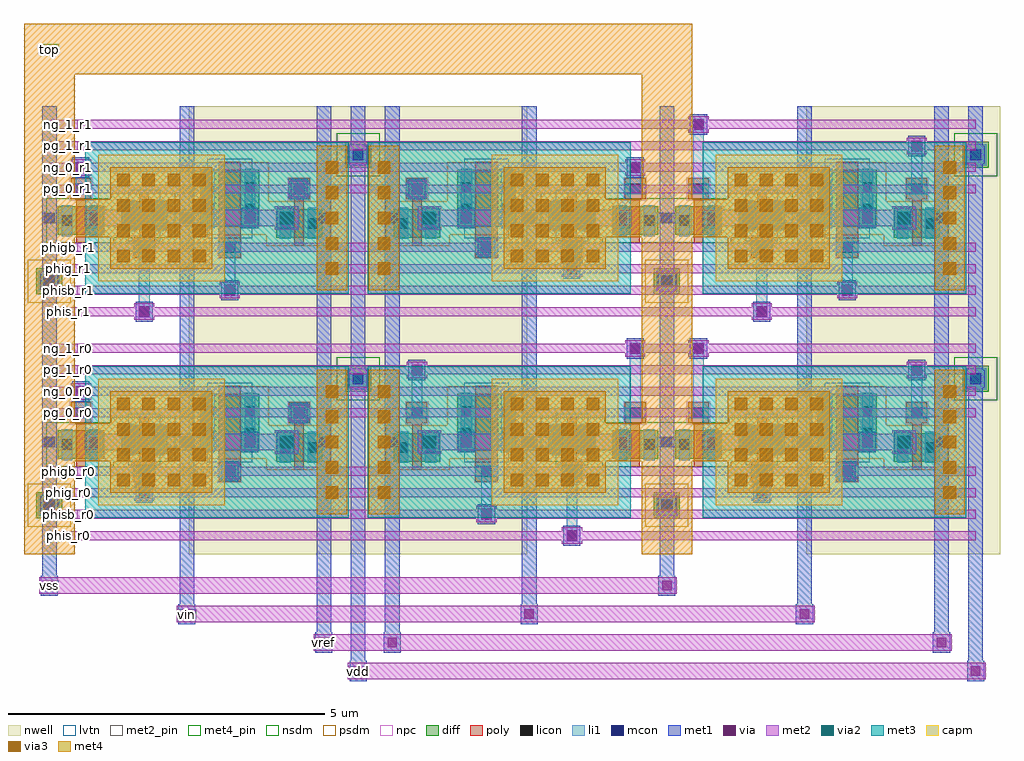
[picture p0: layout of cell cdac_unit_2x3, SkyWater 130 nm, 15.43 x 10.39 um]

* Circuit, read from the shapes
.subckt cdac_unit_2x3 ng_0_r0 ng_0_r1 ng_1_r0 ng_1_r1 pg_0_r0 pg_0_r1 pg_1_r0 pg_1_r1 phig_r0 phig_r1 phigb_r0 phigb_r1 phis_r0 phis_r1 phisb_r0 phisb_r1 top vdd vin vref vss
XM1 n1 ng_0_r0 vss VSUBS sky130_fd_pr__nfet_01v8 w=0.45 l=0.15
XM2 n2 ng_0_r1 vss VSUBS sky130_fd_pr__nfet_01v8 w=0.45 l=0.15
XM3 vin phig_r0 n1 VSUBS sky130_fd_pr__nfet_01v8_lvt w=0.45 l=0.15
XM4 vin phis_r1 n2 VSUBS sky130_fd_pr__nfet_01v8_lvt w=0.45 l=0.15
XM5 n3 phis_r0 vin VSUBS sky130_fd_pr__nfet_01v8_lvt w=0.45 l=0.15
XM6 n4 phig_r1 vin VSUBS sky130_fd_pr__nfet_01v8_lvt w=0.45 l=0.15
XM7 vss ng_1_r0 n3 VSUBS sky130_fd_pr__nfet_01v8 w=0.45 l=0.15
XM8 vss ng_0_r1 n4 VSUBS sky130_fd_pr__nfet_01v8 w=0.45 l=0.15
XM9 n5 ng_1_r0 vss VSUBS sky130_fd_pr__nfet_01v8 w=0.45 l=0.15
XM10 n6 ng_1_r1 vss VSUBS sky130_fd_pr__nfet_01v8 w=0.45 l=0.15
XM11 vin phig_r0 n5 VSUBS sky130_fd_pr__nfet_01v8_lvt w=0.45 l=0.15
XM12 vin phis_r1 n6 VSUBS sky130_fd_pr__nfet_01v8_lvt w=0.45 l=0.15
XM13 n1 phigb_r0 vin n7 sky130_fd_pr__pfet_01v8_lvt w=0.9 l=0.35
XM14 n2 phisb_r1 vin n7 sky130_fd_pr__pfet_01v8_lvt w=0.9 l=0.35
XM15 vref pg_0_r0 n1 n7 sky130_fd_pr__pfet_01v8 w=0.45 l=0.15
XM16 vref pg_0_r1 n2 n7 sky130_fd_pr__pfet_01v8 w=0.45 l=0.15
XM17 n3 pg_1_r0 vref n7 sky130_fd_pr__pfet_01v8 w=0.45 l=0.15
XM18 n4 pg_0_r1 vref n7 sky130_fd_pr__pfet_01v8 w=0.45 l=0.15
XM19 vin phisb_r0 n3 n7 sky130_fd_pr__pfet_01v8_lvt w=0.9 l=0.35
XM20 vin phigb_r1 n4 n7 sky130_fd_pr__pfet_01v8_lvt w=0.9 l=0.35
XM21 n5 phigb_r0 vin n8 sky130_fd_pr__pfet_01v8_lvt w=0.9 l=0.35
XM22 n6 phisb_r1 vin n8 sky130_fd_pr__pfet_01v8_lvt w=0.9 l=0.35
XM23 vref pg_1_r0 n5 n8 sky130_fd_pr__pfet_01v8 w=0.45 l=0.15
XM24 vref pg_1_r1 n6 n8 sky130_fd_pr__pfet_01v8 w=0.45 l=0.15
XC25 top n1 sky130_fd_pr__cap_mim_m3_1 w=2 l=2
XC26 top n2 sky130_fd_pr__cap_mim_m3_1 w=2 l=2
XC27 top n3 sky130_fd_pr__cap_mim_m3_1 w=2 l=2
XC28 top n4 sky130_fd_pr__cap_mim_m3_1 w=2 l=2
XC29 top n5 sky130_fd_pr__cap_mim_m3_1 w=2 l=2
XC30 top n6 sky130_fd_pr__cap_mim_m3_1 w=2 l=2
.ends

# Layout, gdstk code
import gdstk
lib = gdstk.Library(unit=1e-6, precision=5e-09)
def R(c, l, rs):  # rectangles x0, y0, x1, y1
    for r in rs: c.add(gdstk.rectangle(r[:2], r[2:], *l))
def A(c, l, x, y, w, h, nx, ny, dx, dy):  # array of equal rectangles
    R(c, l, [(x+i*dx, y+j*dy, x+i*dx+w, y+j*dy+h) for i in range(nx) for j in range(ny)])
nwell = (64, 20)
diff = (65, 20)
poly = (66, 20)
licon = (66, 44)
li1 = (67, 20)
mcon = (67, 44)
met1 = (68, 20)
via = (68, 44)
met2_pin = (69, 16)
met2 = (69, 20)
via2 = (69, 44)
met3 = (70, 20)
via3 = (70, 44)
met4_pin = (71, 16)
met4 = (71, 20)
capm = (89, 44)
nsdm = (93, 44)
psdm = (94, 20)
npc = (95, 20)
lvtn = (125, 44)

cdac_unit_2x3 = lib.new_cell('cdac_unit_2x3')
R(cdac_unit_2x3, nwell, [(2.205,0,5.265,3.54), (4.495,0,7.555,3.54), (11.965,0,15.025,3.54), (2.205,1.13,3.495,2.84), (6.265,1.13,7.555,2.84), (11.965,1.13,13.255,2.84), (3.405,1.15,4.495,2.41), (5.265,1.15,6.355,2.41), (13.165,1.15,14.255,2.41), (2.205,3.54,5.265,7.08), (4.495,3.54,7.555,7.08), (11.965,3.54,15.025,7.08), (2.205,4.67,3.495,6.38), (6.265,4.67,7.555,6.38), (11.965,4.67,13.255,6.38), (3.405,4.69,4.495,5.95), (5.265,4.69,6.355,5.95), (13.165,4.69,14.255,5.95)])
R(cdac_unit_2x3, diff, [(-0.205,0.565,0.205,0.975), (9.555,0.565,9.965,0.975), (9.555,0.565,9.965,0.975), (3.585,1.46,4.315,1.91), (5.445,1.46,6.175,1.91), (13.345,1.46,14.075,1.91), (0.135,1.505,0.865,1.955), (8.895,1.505,9.625,1.955), (9.895,1.505,10.625,1.955), (1.135,1.585,1.865,2.035), (7.895,1.585,8.625,2.035), (10.895,1.585,11.625,2.035), (2.385,1.63,3.315,2.53), (6.445,1.63,7.375,2.53), (12.145,1.63,13.075,2.53), (4.675,2.565,5.085,2.975), (4.675,2.565,5.085,2.975), (14.435,2.565,14.845,2.975), (-0.205,4.105,0.205,4.515), (9.555,4.105,9.965,4.515), (9.555,4.105,9.965,4.515), (3.585,5,4.315,5.45), (5.445,5,6.175,5.45), (13.345,5,14.075,5.45), (0.135,5.045,0.865,5.495), (8.895,5.045,9.625,5.495), (9.895,5.045,10.625,5.495), (1.135,5.125,1.865,5.575), (7.895,5.125,8.625,5.575), (10.895,5.125,11.625,5.575), (2.385,5.17,3.315,6.07), (6.445,5.17,7.375,6.07), (12.145,5.17,13.075,6.07), (4.675,6.105,5.085,6.515), (4.675,6.105,5.085,6.515), (14.435,6.105,14.845,6.515)])
R(cdac_unit_2x3, poly, [(1.335,1.145,1.665,1.475), (2.675,1.145,3.025,2.66), (6.735,1.145,7.085,2.66), (8.095,1.145,8.425,1.475), (11.095,1.145,11.425,1.475), (12.435,1.145,12.785,2.66), (3.875,1.33,4.025,2.065), (5.735,1.33,5.885,2.065), (13.635,1.33,13.785,2.065), (0.425,1.375,0.575,2.065), (9.185,1.375,9.335,2.065), (10.185,1.375,10.335,2.065), (1.425,1.475,1.575,2.165), (8.185,1.475,8.335,2.165), (11.185,1.475,11.335,2.165), (0.335,2.065,0.665,2.395), (3.785,2.065,4.115,2.395), (5.645,2.065,5.975,2.395), (9.095,2.065,9.425,2.395), (10.095,2.065,10.425,2.395), (13.545,2.065,13.875,2.395), (1.335,4.685,1.665,5.015), (2.675,4.685,3.025,6.2), (6.735,4.685,7.085,6.2), (8.095,4.685,8.425,5.015), (11.095,4.685,11.425,5.015), (12.435,4.685,12.785,6.2), (3.875,4.87,4.025,5.605), (5.735,4.87,5.885,5.605), (13.635,4.87,13.785,5.605), (0.425,4.915,0.575,5.605), (9.185,4.915,9.335,5.605), (10.185,4.915,10.335,5.605), (1.425,5.015,1.575,5.705), (8.185,5.015,8.335,5.705), (11.185,5.015,11.335,5.705), (0.335,5.605,0.665,5.935), (3.785,5.605,4.115,5.935), (5.645,5.605,5.975,5.935), (9.095,5.605,9.425,5.935), (10.095,5.605,10.425,5.935), (13.545,5.605,13.875,5.935)])
R(cdac_unit_2x3, licon, [(-0.085,0.685,0.085,0.855), (9.675,0.685,9.845,0.855), (9.675,0.685,9.845,0.855), (1.415,1.225,1.585,1.395), (2.765,1.225,2.935,1.395), (6.825,1.225,6.995,1.395), (8.175,1.225,8.345,1.395), (11.175,1.225,11.345,1.395), (12.525,1.225,12.695,1.395), (3.645,1.6,3.815,1.77), (4.085,1.6,4.255,1.77), (5.505,1.6,5.675,1.77), (5.945,1.6,6.115,1.77), (13.405,1.6,13.575,1.77), (13.845,1.6,14.015,1.77), (0.195,1.645,0.365,1.815), (0.635,1.645,0.805,1.815), (8.955,1.645,9.125,1.815), (9.395,1.645,9.565,1.815), (9.955,1.645,10.125,1.815), (10.395,1.645,10.565,1.815), (1.195,1.725,1.365,1.895), (1.635,1.725,1.805,1.895), (7.955,1.725,8.125,1.895), (8.395,1.725,8.565,1.895), (10.955,1.725,11.125,1.895), (11.395,1.725,11.565,1.895), (2.445,1.825,2.615,1.995), (3.085,1.825,3.255,1.995), (6.505,1.825,6.675,1.995), (7.145,1.825,7.315,1.995), (12.205,1.825,12.375,1.995), (12.845,1.825,13.015,1.995), (0.415,2.145,0.585,2.315), (3.865,2.145,4.035,2.315), (5.725,2.145,5.895,2.315), (9.175,2.145,9.345,2.315), (10.175,2.145,10.345,2.315), (13.625,2.145,13.795,2.315), (2.445,2.165,2.615,2.335), (3.085,2.165,3.255,2.335), (6.505,2.165,6.675,2.335), (7.145,2.165,7.315,2.335), (12.205,2.165,12.375,2.335), (12.845,2.165,13.015,2.335), (4.795,2.685,4.965,2.855), (4.795,2.685,4.965,2.855), (14.555,2.685,14.725,2.855), (-0.085,4.225,0.085,4.395), (9.675,4.225,9.845,4.395), (9.675,4.225,9.845,4.395), (1.415,4.765,1.585,4.935), (2.765,4.765,2.935,4.935), (6.825,4.765,6.995,4.935), (8.175,4.765,8.345,4.935), (11.175,4.765,11.345,4.935), (12.525,4.765,12.695,4.935), (3.645,5.14,3.815,5.31), (4.085,5.14,4.255,5.31), (5.505,5.14,5.675,5.31), (5.945,5.14,6.115,5.31), (13.405,5.14,13.575,5.31), (13.845,5.14,14.015,5.31), (0.195,5.185,0.365,5.355), (0.635,5.185,0.805,5.355), (8.955,5.185,9.125,5.355), (9.395,5.185,9.565,5.355), (9.955,5.185,10.125,5.355), (10.395,5.185,10.565,5.355), (1.195,5.265,1.365,5.435), (1.635,5.265,1.805,5.435), (7.955,5.265,8.125,5.435), (8.395,5.265,8.565,5.435), (10.955,5.265,11.125,5.435), (11.395,5.265,11.565,5.435), (2.445,5.365,2.615,5.535), (3.085,5.365,3.255,5.535), (6.505,5.365,6.675,5.535), (7.145,5.365,7.315,5.535), (12.205,5.365,12.375,5.535), (12.845,5.365,13.015,5.535), (0.415,5.685,0.585,5.855), (3.865,5.685,4.035,5.855), (5.725,5.685,5.895,5.855), (9.175,5.685,9.345,5.855), (10.175,5.685,10.345,5.855), (13.625,5.685,13.795,5.855), (2.445,5.705,2.615,5.875), (3.085,5.705,3.255,5.875), (6.505,5.705,6.675,5.875), (7.145,5.705,7.315,5.875), (12.205,5.705,12.375,5.875), (12.845,5.705,13.015,5.875), (4.795,6.225,4.965,6.395), (4.795,6.225,4.965,6.395), (14.555,6.225,14.725,6.395)])
R(cdac_unit_2x3, li1, [(8.175,0.205,8.345,1.395), (6.825,0.545,6.995,1.395), (-0.165,0.605,0.165,0.935), (9.595,0.605,9.925,0.935), (9.595,0.605,9.925,0.935), (1.415,0.885,1.585,1.395), (11.175,0.885,11.345,1.395), (1.335,1.225,1.665,1.395), (2.675,1.225,3.025,1.395), (2.765,1.225,2.935,1.395), (6.735,1.225,7.085,1.395), (8.095,1.225,8.425,1.395), (11.095,1.225,11.425,1.395), (12.435,1.225,12.785,1.395), (12.525,1.225,12.695,1.395), (3.645,1.44,3.815,1.93), (4.085,1.44,4.255,1.93), (5.505,1.44,5.675,1.93), (5.945,1.44,6.115,1.93), (13.405,1.44,13.575,1.93), (13.845,1.44,14.015,1.93), (0.195,1.485,0.365,1.975), (0.635,1.485,0.805,1.975), (8.955,1.485,9.125,1.975), (9.395,1.485,9.565,1.975), (9.955,1.485,10.125,1.975), (10.395,1.485,10.565,1.975), (1.195,1.565,1.365,2.055), (1.635,1.565,1.805,2.055), (7.955,1.565,8.125,2.055), (8.395,1.565,8.565,2.055), (10.955,1.565,11.125,2.055), (11.395,1.565,11.565,2.055), (2.445,1.61,2.615,2.55), (3.085,1.61,3.255,2.55), (6.505,1.61,6.675,2.55), (7.145,1.61,7.315,2.55), (12.205,1.61,12.375,2.55), (12.845,1.61,13.015,2.55), (-0.085,1.685,0.275,1.855), (1.72,1.685,2.53,1.855), (4.165,1.685,4.43,1.855), (5.335,1.685,5.595,1.855), (7.23,1.685,8.04,1.855), (9.485,1.685,9.845,1.855), (9.68,1.685,10.04,1.855), (11.48,1.685,12.29,1.855), (13.93,1.685,14.19,1.855), (0.335,2.145,0.665,2.315), (0.415,2.145,0.585,2.655), (3.785,2.145,4.115,2.315), (3.865,2.145,4.035,2.315), (5.645,2.145,5.975,2.315), (5.725,2.145,5.895,2.995), (9.095,2.145,9.425,2.315), (9.175,2.145,9.345,3.335), (10.095,2.145,10.425,2.315), (10.175,2.145,10.345,3.335), (13.545,2.145,13.875,2.315), (13.625,2.145,13.795,2.995), (4.715,2.605,5.045,2.935), (4.715,2.605,5.045,2.935), (14.475,2.605,14.805,2.935), (1.415,3.745,1.585,4.935), (11.175,3.745,11.345,4.935), (2.765,4.085,2.935,4.935), (12.525,4.085,12.695,4.935), (-0.165,4.145,0.165,4.475), (9.595,4.145,9.925,4.475), (9.595,4.145,9.925,4.475), (8.175,4.425,8.345,4.935), (1.335,4.765,1.665,4.935), (2.675,4.765,3.025,4.935), (6.735,4.765,7.085,4.935), (6.825,4.765,6.995,4.935), (8.095,4.765,8.425,4.935), (11.095,4.765,11.425,4.935), (12.435,4.765,12.785,4.935), (3.645,4.98,3.815,5.47), (4.085,4.98,4.255,5.47), (5.505,4.98,5.675,5.47), (5.945,4.98,6.115,5.47), (13.405,4.98,13.575,5.47), (13.845,4.98,14.015,5.47), (0.195,5.025,0.365,5.515), (0.635,5.025,0.805,5.515), (8.955,5.025,9.125,5.515), (9.395,5.025,9.565,5.515), (9.955,5.025,10.125,5.515), (10.395,5.025,10.565,5.515), (1.195,5.105,1.365,5.595), (1.635,5.105,1.805,5.595), (7.955,5.105,8.125,5.595), (8.395,5.105,8.565,5.595), (10.955,5.105,11.125,5.595), (11.395,5.105,11.565,5.595), (2.445,5.15,2.615,6.09), (3.085,5.15,3.255,6.09), (6.505,5.15,6.675,6.09), (7.145,5.15,7.315,6.09), (12.205,5.15,12.375,6.09), (12.845,5.15,13.015,6.09), (-0.085,5.225,0.275,5.395), (1.72,5.225,2.53,5.395), (4.165,5.225,4.43,5.395), (5.335,5.225,5.595,5.395), (7.23,5.225,8.04,5.395), (9.485,5.225,9.845,5.395), (9.68,5.225,10.04,5.395), (11.48,5.225,12.29,5.395), (13.93,5.225,14.19,5.395), (0.335,5.685,0.665,5.855), (0.415,5.685,0.585,6.195), (3.785,5.685,4.115,5.855), (3.865,5.685,4.035,5.855), (5.645,5.685,5.975,5.855), (5.725,5.685,5.895,5.855), (9.095,5.685,9.425,5.855), (9.175,5.685,9.345,6.195), (10.095,5.685,10.425,5.855), (10.175,5.685,10.345,6.875), (13.545,5.685,13.875,5.855), (13.625,5.685,13.795,6.535), (4.715,6.145,5.045,6.475), (4.715,6.145,5.045,6.475), (14.475,6.145,14.805,6.475)])
R(cdac_unit_2x3, mcon, [(8.175,0.205,8.345,0.375), (6.825,0.545,6.995,0.715), (-0.085,0.685,0.085,0.855), (9.675,0.685,9.845,0.855), (9.675,0.685,9.845,0.855), (1.415,0.885,1.585,1.055), (11.175,0.885,11.345,1.055), (2.765,1.225,2.935,1.395), (12.525,1.225,12.695,1.395), (-0.085,1.685,0.085,1.855), (0.635,1.685,0.805,1.855), (1.195,1.685,1.365,1.855), (2.09,1.685,2.26,1.855), (3.085,1.685,3.255,1.855), (3.645,1.685,3.815,1.855), (4.255,1.685,4.425,1.855), (5.335,1.685,5.505,1.855), (5.945,1.685,6.115,1.855), (6.505,1.685,6.675,1.855), (7.5,1.685,7.67,1.855), (8.395,1.685,8.565,1.855), (8.955,1.685,9.125,1.855), (9.675,1.685,9.845,1.855), (9.675,1.685,9.845,1.855), (10.395,1.685,10.565,1.855), (10.955,1.685,11.125,1.855), (11.85,1.685,12.02,1.855), (12.845,1.685,13.015,1.855), (13.405,1.685,13.575,1.855), (14.015,1.685,14.185,1.855), (3.865,2.145,4.035,2.315), (0.415,2.485,0.585,2.655), (4.795,2.685,4.965,2.855), (4.795,2.685,4.965,2.855), (14.555,2.685,14.725,2.855), (5.725,2.825,5.895,2.995), (13.625,2.825,13.795,2.995), (9.175,3.165,9.345,3.335), (10.175,3.165,10.345,3.335), (1.415,3.745,1.585,3.915), (11.175,3.745,11.345,3.915), (2.765,4.085,2.935,4.255), (12.525,4.085,12.695,4.255), (-0.085,4.225,0.085,4.395), (9.675,4.225,9.845,4.395), (9.675,4.225,9.845,4.395), (8.175,4.425,8.345,4.595), (6.825,4.765,6.995,4.935), (-0.085,5.225,0.085,5.395), (0.635,5.225,0.805,5.395), (1.195,5.225,1.365,5.395), (2.09,5.225,2.26,5.395), (3.085,5.225,3.255,5.395), (3.645,5.225,3.815,5.395), (4.255,5.225,4.425,5.395), (5.335,5.225,5.505,5.395), (5.945,5.225,6.115,5.395), (6.505,5.225,6.675,5.395), (7.5,5.225,7.67,5.395), (8.395,5.225,8.565,5.395), (8.955,5.225,9.125,5.395), (9.675,5.225,9.845,5.395), (9.675,5.225,9.845,5.395), (10.395,5.225,10.565,5.395), (10.955,5.225,11.125,5.395), (11.85,5.225,12.02,5.395), (12.845,5.225,13.015,5.395), (13.405,5.225,13.575,5.395), (14.015,5.225,14.185,5.395), (3.865,5.685,4.035,5.855), (5.725,5.685,5.895,5.855), (0.415,6.025,0.585,6.195), (9.175,6.025,9.345,6.195), (4.795,6.225,4.965,6.395), (4.795,6.225,4.965,6.395), (14.555,6.225,14.725,6.395), (13.625,6.365,13.795,6.535), (10.175,6.705,10.345,6.875)])
R(cdac_unit_2x3, met1, [(4.745,-2.01,5.015,-1.69), (4.765,-2.01,4.995,0), (14.505,-2.01,14.775,-1.69), (14.525,-2.01,14.755,0), (4.205,-1.56,4.475,-1.24), (4.225,-1.56,4.455,0), (5.285,-1.56,5.555,-1.24), (5.305,-1.56,5.535,0), (13.965,-1.56,14.235,-1.24), (13.985,-1.56,14.215,0), (2.04,-1.11,2.31,-0.79), (2.06,-1.11,2.29,0), (7.45,-1.11,7.72,-0.79), (7.47,-1.11,7.7,0), (11.8,-1.11,12.07,-0.79), (11.82,-1.11,12.05,0), (-0.135,-0.66,0.135,-0.34), (-0.115,-0.66,0.115,0), (9.625,-0.66,9.895,-0.34), (9.645,-0.66,9.875,0), (-0.115,0,0.115,3.54), (2.06,0,2.29,3.54), (4.225,0,4.455,3.54), (4.765,0,4.995,3.54), (4.765,0,4.995,3.54), (5.305,0,5.535,3.54), (7.47,0,7.7,3.54), (9.645,0,9.875,3.54), (9.645,0,9.875,3.54), (11.82,0,12.05,3.54), (13.985,0,14.215,3.54), (14.525,0,14.755,3.54), (8.125,0.13,8.395,0.45), (6.775,0.47,7.045,0.79), (-0.145,0.625,0.145,0.915), (9.615,0.625,9.905,0.915), (9.615,0.625,9.905,0.915), (1.365,0.81,1.635,1.13), (11.125,0.81,11.395,1.13), (2.715,1.15,2.985,1.47), (12.475,1.15,12.745,1.47), (0.585,1.61,0.855,1.93), (1.145,1.61,1.415,1.93), (3.035,1.61,3.305,1.93), (3.595,1.61,3.865,1.93), (5.895,1.61,6.165,1.93), (6.455,1.61,6.725,1.93), (8.345,1.61,8.615,1.93), (8.905,1.61,9.175,1.93), (10.345,1.61,10.615,1.93), (10.905,1.61,11.175,1.93), (12.795,1.61,13.065,1.93), (13.355,1.61,13.625,1.93), (-0.115,1.63,0.115,1.91), (2.06,1.63,2.29,1.91), (4.225,1.63,4.455,1.91), (5.305,1.63,5.535,1.91), (7.47,1.63,7.7,1.91), (9.645,1.63,9.875,1.91), (9.645,1.63,9.875,1.91), (11.82,1.63,12.05,1.91), (13.985,1.63,14.215,1.91), (3.815,2.07,4.085,2.39), (0.365,2.41,0.635,2.73), (4.735,2.625,5.025,2.915), (4.735,2.625,5.025,2.915), (14.495,2.625,14.785,2.915), (5.675,2.75,5.945,3.07), (13.575,2.75,13.845,3.07), (9.125,3.09,9.395,3.41), (10.125,3.09,10.395,3.41), (-0.115,3.54,0.115,7.08), (2.06,3.54,2.29,7.08), (4.225,3.54,4.455,7.08), (4.765,3.54,4.995,7.08), (4.765,3.54,4.995,7.08), (5.305,3.54,5.535,7.08), (7.47,3.54,7.7,7.08), (9.645,3.54,9.875,7.08), (9.645,3.54,9.875,7.08), (11.82,3.54,12.05,7.08), (13.985,3.54,14.215,7.08), (14.525,3.54,14.755,7.08), (1.365,3.67,1.635,3.99), (11.125,3.67,11.395,3.99), (2.715,4.01,2.985,4.33), (12.475,4.01,12.745,4.33), (-0.145,4.165,0.145,4.455), (9.615,4.165,9.905,4.455), (9.615,4.165,9.905,4.455), (8.125,4.35,8.395,4.67), (6.775,4.69,7.045,5.01), (0.585,5.15,0.855,5.47), (1.145,5.15,1.415,5.47), (3.035,5.15,3.305,5.47), (3.595,5.15,3.865,5.47), (5.895,5.15,6.165,5.47), (6.455,5.15,6.725,5.47), (8.345,5.15,8.615,5.47), (8.905,5.15,9.175,5.47), (10.345,5.15,10.615,5.47), (10.905,5.15,11.175,5.47), (12.795,5.15,13.065,5.47), (13.355,5.15,13.625,5.47), (-0.115,5.17,0.115,5.45), (2.06,5.17,2.29,5.45), (4.225,5.17,4.455,5.45), (5.305,5.17,5.535,5.45), (7.47,5.17,7.7,5.45), (9.645,5.17,9.875,5.45), (9.645,5.17,9.875,5.45), (11.82,5.17,12.05,5.45), (13.985,5.17,14.215,5.45), (3.815,5.61,4.085,5.93), (5.675,5.61,5.945,5.93), (0.365,5.95,0.635,6.27), (9.125,5.95,9.395,6.27), (4.735,6.165,5.025,6.455), (4.735,6.165,5.025,6.455), (14.495,6.165,14.785,6.455), (13.575,6.29,13.845,6.61), (10.125,6.63,10.395,6.95)])
R(cdac_unit_2x3, via, [(4.805,-1.925,4.955,-1.775), (14.565,-1.925,14.715,-1.775), (4.265,-1.475,4.415,-1.325), (5.345,-1.475,5.495,-1.325), (14.025,-1.475,14.175,-1.325), (2.1,-1.025,2.25,-0.875), (7.51,-1.025,7.66,-0.875), (11.86,-1.025,12.01,-0.875), (-0.075,-0.575,0.075,-0.425), (9.685,-0.575,9.835,-0.425), (8.185,0.215,8.335,0.365), (6.835,0.555,6.985,0.705), (1.425,0.895,1.575,1.045), (11.185,0.895,11.335,1.045), (2.775,1.235,2.925,1.385), (12.535,1.235,12.685,1.385), (0.645,1.695,0.795,1.845), (1.205,1.695,1.355,1.845), (3.095,1.695,3.245,1.845), (3.655,1.695,3.805,1.845), (5.955,1.695,6.105,1.845), (6.515,1.695,6.665,1.845), (8.405,1.695,8.555,1.845), (8.965,1.695,9.115,1.845), (10.405,1.695,10.555,1.845), (10.965,1.695,11.115,1.845), (12.855,1.695,13.005,1.845), (13.415,1.695,13.565,1.845), (3.875,2.155,4.025,2.305), (0.425,2.495,0.575,2.645), (5.735,2.835,5.885,2.985), (13.635,2.835,13.785,2.985), (9.185,3.175,9.335,3.325), (10.185,3.175,10.335,3.325), (1.425,3.755,1.575,3.905), (11.185,3.755,11.335,3.905), (2.775,4.095,2.925,4.245), (12.535,4.095,12.685,4.245), (8.185,4.435,8.335,4.585), (6.835,4.775,6.985,4.925), (0.645,5.235,0.795,5.385), (1.205,5.235,1.355,5.385), (3.095,5.235,3.245,5.385), (3.655,5.235,3.805,5.385), (5.955,5.235,6.105,5.385), (6.515,5.235,6.665,5.385), (8.405,5.235,8.555,5.385), (8.965,5.235,9.115,5.385), (10.405,5.235,10.555,5.385), (10.965,5.235,11.115,5.385), (12.855,5.235,13.005,5.385), (13.415,5.235,13.565,5.385), (3.875,5.695,4.025,5.845), (5.735,5.695,5.885,5.845), (0.425,6.035,0.575,6.185), (9.185,6.035,9.335,6.185), (13.635,6.375,13.785,6.525), (10.185,6.715,10.335,6.865)])
A(cdac_unit_2x3, met2_pin, 0.15, 0.22, 0.3, 0.14, 1, 4, 0, 0.34)
A(cdac_unit_2x3, met2_pin, 0.15, 2.16, 0.3, 0.14, 1, 4, 0, 0.34)
A(cdac_unit_2x3, met2_pin, 0.15, 3.76, 0.3, 0.14, 1, 4, 0, 0.34)
A(cdac_unit_2x3, met2_pin, 0.15, 5.7, 0.3, 0.14, 1, 4, 0, 0.34)
R(cdac_unit_2x3, met2_pin, [(4.73,-1.93,5.03,-1.77), (4.19,-1.48,4.49,-1.32), (2.025,-1.03,2.325,-0.87), (-0.15,-0.58,0.15,-0.42)])
A(cdac_unit_2x3, met2, 0, 0.22, 4.88, 0.14, 3, 4, 4.88, 0.34)
A(cdac_unit_2x3, met2, 0, 2.16, 4.88, 0.14, 3, 4, 4.88, 0.34)
A(cdac_unit_2x3, met2, 0, 3.76, 4.88, 0.14, 3, 4, 4.88, 0.34)
A(cdac_unit_2x3, met2, 0, 5.7, 4.88, 0.14, 3, 4, 4.88, 0.34)
R(cdac_unit_2x3, met2, [(4.72,-1.98,14.8,-1.72), (4.18,-1.53,14.26,-1.27), (2.015,-1.08,12.095,-0.82), (-0.16,-0.63,9.92,-0.37), (8.1,0.16,8.42,0.42), (6.75,0.5,7.07,0.76), (1.34,0.84,1.66,1.1), (11.1,0.84,11.42,1.1), (2.69,1.18,3.01,1.44), (12.45,1.18,12.77,1.44), (3.565,1.585,3.935,1.955), (5.825,1.585,6.195,1.955), (13.325,1.585,13.695,1.955), (0.56,1.64,3.94,1.9), (0.56,1.64,0.88,1.9), (1.12,1.64,1.44,1.9), (3.01,1.64,3.33,1.9), (3.57,1.64,3.89,1.9), (5.825,1.64,9.205,1.9), (5.87,1.64,6.19,1.9), (6.43,1.64,6.75,1.9), (8.32,1.64,8.64,1.9), (8.88,1.64,9.2,1.9), (10.32,1.64,13.7,1.9), (10.32,1.64,10.64,1.9), (10.88,1.64,11.2,1.9), (12.77,1.64,13.09,1.9), (13.33,1.64,13.65,1.9), (3.79,2.1,4.11,2.36), (0.34,2.44,0.66,2.7), (5.65,2.78,5.97,3.04), (13.55,2.78,13.87,3.04), (9.1,3.12,9.42,3.38), (10.1,3.12,10.42,3.38), (1.34,3.7,1.66,3.96), (11.1,3.7,11.42,3.96), (2.69,4.04,3.01,4.3), (12.45,4.04,12.77,4.3), (8.1,4.38,8.42,4.64), (6.75,4.72,7.07,4.98), (3.565,5.125,3.935,5.495), (5.825,5.125,6.195,5.495), (13.325,5.125,13.695,5.495), (0.56,5.18,3.94,5.44), (0.56,5.18,0.88,5.44), (1.12,5.18,1.44,5.44), (3.01,5.18,3.33,5.44), (3.57,5.18,3.89,5.44), (5.825,5.18,9.205,5.44), (5.87,5.18,6.19,5.44), (6.43,5.18,6.75,5.44), (8.32,5.18,8.64,5.44), (8.88,5.18,9.2,5.44), (10.32,5.18,13.7,5.44), (10.32,5.18,10.64,5.44), (10.88,5.18,11.2,5.44), (12.77,5.18,13.09,5.44), (13.33,5.18,13.65,5.44), (3.79,5.64,4.11,5.9), (5.65,5.64,5.97,5.9), (0.34,5.98,0.66,6.24), (9.1,5.98,9.42,6.24), (13.55,6.32,13.87,6.58), (10.1,6.66,10.42,6.92)])
R(cdac_unit_2x3, via2, [(3.65,1.67,3.85,1.87), (5.91,1.67,6.11,1.87), (13.41,1.67,13.61,1.87), (3.65,5.21,3.85,5.41), (5.91,5.21,6.11,5.41), (13.41,5.21,13.61,5.41)])
R(cdac_unit_2x3, met3, [(0.57,0.57,4.73,2.97), (5.03,0.57,9.19,2.97), (10.33,0.57,14.49,2.97), (3.585,1.605,3.915,1.935), (5.845,1.605,6.175,1.935), (13.345,1.605,13.675,1.935), (0.57,4.11,4.73,6.51), (5.03,4.11,9.19,6.51), (10.33,4.11,14.49,6.51), (3.585,5.145,3.915,5.475), (5.845,5.145,6.175,5.475), (13.345,5.145,13.675,5.475)])
A(cdac_unit_2x3, via3, 4.37, 0.87, 0.2, 0.2, 1, 5, 0, 0.4)
A(cdac_unit_2x3, via3, 5.19, 0.87, 0.2, 0.2, 1, 5, 0, 0.4)
A(cdac_unit_2x3, via3, 14.13, 0.87, 0.2, 0.2, 1, 5, 0, 0.4)
A(cdac_unit_2x3, via3, 1.07, 1.07, 0.2, 0.2, 4, 4, 0.4, 0.4)
A(cdac_unit_2x3, via3, 7.29, 1.07, 0.2, 0.2, 4, 4, 0.4, 0.4)
A(cdac_unit_2x3, via3, 10.83, 1.07, 0.2, 0.2, 4, 4, 0.4, 0.4)
A(cdac_unit_2x3, via3, 4.37, 4.41, 0.2, 0.2, 1, 5, 0, 0.4)
A(cdac_unit_2x3, via3, 5.19, 4.41, 0.2, 0.2, 1, 5, 0, 0.4)
A(cdac_unit_2x3, via3, 14.13, 4.41, 0.2, 0.2, 1, 5, 0, 0.4)
A(cdac_unit_2x3, via3, 1.07, 4.61, 0.2, 0.2, 4, 4, 0.4, 0.4)
A(cdac_unit_2x3, via3, 7.29, 4.61, 0.2, 0.2, 4, 4, 0.4, 0.4)
A(cdac_unit_2x3, via3, 10.83, 4.61, 0.2, 0.2, 4, 4, 0.4, 0.4)
R(cdac_unit_2x3, met4_pin, [(-0.15,7.9,0.15,8.06)])
R(cdac_unit_2x3, met4, [(-0.4,0,0.4,3.54), (9.36,0,10.16,3.54), (9.36,0,10.16,3.54), (4.23,0.63,4.71,2.91), (5.05,0.63,5.53,2.91), (13.99,0.63,14.47,2.91), (0.965,0.965,2.575,2.575), (7.185,0.965,8.795,2.575), (10.725,0.965,12.335,2.575), (0.005,1.47,1.165,2.07), (8.6,1.47,9.76,2.07), (9.76,1.47,10.925,2.07), (-0.4,3.54,0.4,7.08), (9.36,3.54,10.16,7.08), (9.36,3.54,10.16,7.08), (4.23,4.17,4.71,6.45), (5.05,4.17,5.53,6.45), (13.99,4.17,14.47,6.45), (0.965,4.505,2.575,6.115), (7.185,4.505,8.795,6.115), (10.725,4.505,12.335,6.115), (0.005,5.01,1.165,5.61), (8.6,5.01,9.76,5.61), (9.76,5.01,10.925,5.61), (-0.4,7.08,0.4,8.38), (9.36,7.08,10.16,8.38), (-0.4,7.58,10.16,8.38)])
R(cdac_unit_2x3, capm, [(0.77,0.77,2.77,2.77), (6.99,0.77,8.99,2.77), (10.53,0.77,12.53,2.77), (0.77,4.31,2.77,6.31), (6.99,4.31,8.99,6.31), (10.53,4.31,12.53,6.31)])
R(cdac_unit_2x3, nsdm, [(-0.05,1.38,0.02,2.08), (0.01,1.38,0.99,2.08), (0.98,1.38,1.02,2.16), (8.74,1.38,8.78,2.16), (8.77,1.38,9.75,2.08), (9.71,1.38,9.78,2.08), (9.74,1.38,9.81,2.08), (9.77,1.38,10.75,2.08), (10.74,1.38,10.78,2.16), (1.01,1.46,1.99,2.16), (7.77,1.46,8.75,2.16), (10.77,1.46,11.75,2.16), (4.54,2.43,5.22,3.11), (4.54,2.43,5.22,3.11), (14.3,2.43,14.98,3.11), (-0.05,4.92,0.02,5.62), (0.01,4.92,0.99,5.62), (0.98,4.92,1.02,5.7), (8.74,4.92,8.78,5.7), (8.77,4.92,9.75,5.62), (9.71,4.92,9.78,5.62), (9.74,4.92,9.81,5.62), (9.77,4.92,10.75,5.62), (10.74,4.92,10.78,5.7), (1.01,5,1.99,5.7), (7.77,5,8.75,5.7), (10.77,5,11.75,5.7), (4.54,5.97,5.22,6.65), (4.54,5.97,5.22,6.65), (14.3,5.97,14.98,6.65)])
R(cdac_unit_2x3, psdm, [(-0.34,0.43,0.34,1.11), (9.42,0.43,10.1,1.11), (9.42,0.43,10.1,1.11), (3.43,1.335,3.47,2.655), (3.46,1.335,4.44,2.035), (5.32,1.335,6.3,2.035), (6.29,1.335,6.33,2.655), (13.19,1.335,13.23,2.655), (13.22,1.335,14.2,2.035), (2.26,1.505,3.44,2.655), (6.32,1.505,7.5,2.655), (12.02,1.505,13.2,2.655), (-0.34,3.97,0.34,4.65), (9.42,3.97,10.1,4.65), (9.42,3.97,10.1,4.65), (3.43,4.875,3.47,6.195), (3.46,4.875,4.44,5.575), (5.32,4.875,6.3,5.575), (6.29,4.875,6.33,6.195), (13.19,4.875,13.23,6.195), (13.22,4.875,14.2,5.575), (2.26,5.045,3.44,6.195), (6.32,5.045,7.5,6.195), (12.02,5.045,13.2,6.195)])
R(cdac_unit_2x3, npc, [(1.315,1.125,1.685,1.495), (2.665,1.125,3.035,1.495), (6.725,1.125,7.095,1.495), (8.075,1.125,8.445,1.495), (11.075,1.125,11.445,1.495), (12.425,1.125,12.795,1.495), (0.315,2.045,0.685,2.415), (3.765,2.045,4.135,2.415), (5.625,2.045,5.995,2.415), (9.075,2.045,9.445,2.415), (10.075,2.045,10.445,2.415), (13.525,2.045,13.895,2.415), (1.315,4.665,1.685,5.035), (2.665,4.665,3.035,5.035), (6.725,4.665,7.095,5.035), (8.075,4.665,8.445,5.035), (11.075,4.665,11.445,5.035), (12.425,4.665,12.795,5.035), (0.315,5.585,0.685,5.955), (3.765,5.585,4.135,5.955), (5.625,5.585,5.995,5.955), (9.075,5.585,9.445,5.955), (10.075,5.585,10.445,5.955), (13.525,5.585,13.895,5.955)])
R(cdac_unit_2x3, lvtn, [(1.245,1.405,1.755,2.215), (8.005,1.405,8.515,2.215), (11.005,1.405,11.515,2.215), (2.495,1.45,3.205,2.71), (6.555,1.45,7.265,2.71), (12.255,1.45,12.965,2.71), (1.245,4.945,1.755,5.755), (8.005,4.945,8.515,5.755), (11.005,4.945,11.515,5.755), (2.495,4.99,3.205,6.25), (6.555,4.99,7.265,6.25), (12.255,4.99,12.965,6.25)])
cdac_unit_2x3.add(gdstk.Label('phis_r0', (0.3,0.29), layer=69, texttype=5))
cdac_unit_2x3.add(gdstk.Label('phisb_r0', (0.3,0.63), layer=69, texttype=5))
cdac_unit_2x3.add(gdstk.Label('phig_r0', (0.3,0.97), layer=69, texttype=5))
cdac_unit_2x3.add(gdstk.Label('phigb_r0', (0.3,1.31), layer=69, texttype=5))
cdac_unit_2x3.add(gdstk.Label('pg_0_r0', (0.3,2.23), layer=69, texttype=5))
cdac_unit_2x3.add(gdstk.Label('ng_0_r0', (0.3,2.57), layer=69, texttype=5))
cdac_unit_2x3.add(gdstk.Label('pg_1_r0', (0.3,2.91), layer=69, texttype=5))
cdac_unit_2x3.add(gdstk.Label('ng_1_r0', (0.3,3.25), layer=69, texttype=5))
cdac_unit_2x3.add(gdstk.Label('phis_r1', (0.3,3.83), layer=69, texttype=5))
cdac_unit_2x3.add(gdstk.Label('phisb_r1', (0.3,4.17), layer=69, texttype=5))
cdac_unit_2x3.add(gdstk.Label('phig_r1', (0.3,4.51), layer=69, texttype=5))
cdac_unit_2x3.add(gdstk.Label('phigb_r1', (0.3,4.85), layer=69, texttype=5))
cdac_unit_2x3.add(gdstk.Label('pg_0_r1', (0.3,5.77), layer=69, texttype=5))
cdac_unit_2x3.add(gdstk.Label('ng_0_r1', (0.3,6.11), layer=69, texttype=5))
cdac_unit_2x3.add(gdstk.Label('pg_1_r1', (0.3,6.45), layer=69, texttype=5))
cdac_unit_2x3.add(gdstk.Label('ng_1_r1', (0.3,6.79), layer=69, texttype=5))
cdac_unit_2x3.add(gdstk.Label('vss', (0,-0.5), layer=69, texttype=5))
cdac_unit_2x3.add(gdstk.Label('vin', (2.175,-0.95), layer=69, texttype=5))
cdac_unit_2x3.add(gdstk.Label('vref', (4.34,-1.4), layer=69, texttype=5))
cdac_unit_2x3.add(gdstk.Label('vdd', (4.88,-1.85), layer=69, texttype=5))
cdac_unit_2x3.add(gdstk.Label('top', (0,7.98), layer=71, texttype=5))

lib.write_gds('cdac_unit_2x3.gds')
